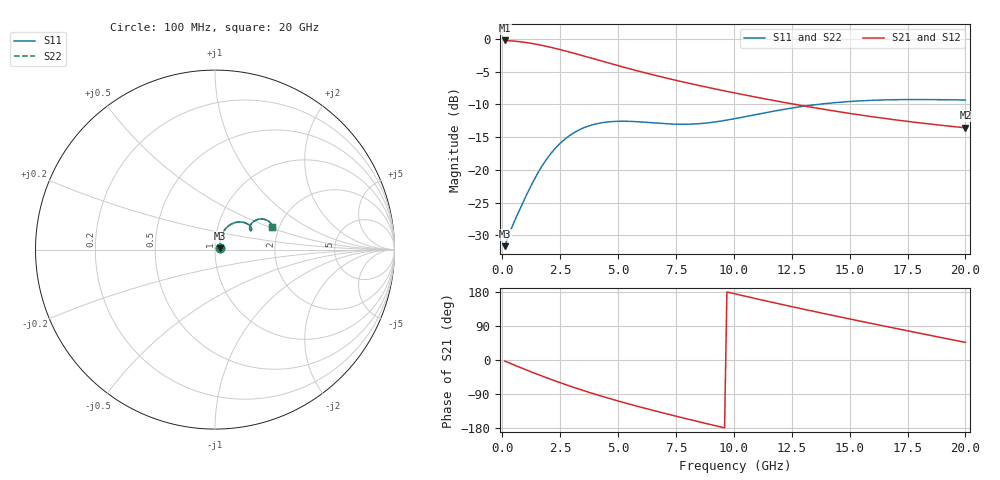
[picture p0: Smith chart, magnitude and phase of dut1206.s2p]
! Touchstone file exported from HFSS 2024.1.0
!  File:  C:/UserFiles/LocalFiles/RDL_TSV_Batchsim/temp_RDL_TSV_1206_1780258069.aedt
!  Generated:  04:25:18 AM Jun  1, 2026
!  Design:  RDL_TSV
!  Project:  temp_RDL_TSV_1206_1780258069
!  Setup:  Setup1
!  Solution:  Sweep
! Variables:
!  dtsv = 9.34um
!  hbump = 3um
!  htsv = 89.23um
!  ldown = 687.05um
!  lrdl = 652.46um
!  p = 40
!  p1 = 48.45um
!  rhole = 10um
!  subl = 4670.99um
!  t = 450um
!  tdown = 2.91um
!  trdl = 3.94um
!  viad = 10um
!  wdown = 18.71um
!  wrdl = 20.3um
!  xbump = 18um
# GHz S MA R 50.000000
! Terminal data exported
! Port[1] = TM1_1_T1
! Port[2] = TM1_4_T1
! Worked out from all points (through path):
!   200 points, 100 MHz to 20 GHz, reference 50 ohm
!   highest |S21| = -0.23 dB at 100 MHz (marker M1); lowest = -13.6 dB at 20 GHz (marker M2)
!   group delay of S21, straight-line fit = 41.5 ps
!   lowest |S11| = -31.6 dB at 100 MHz (marker M3), VSWR 1.05, Z = 52.6 + j0.663 ohm
!   |S11| at or under -10 dB: start of sweep to 13.61 GHz
!   |S22| runs from -31.6 to -9.3 dB; largest |S21 - S12| = 7.8e-15
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0.1  0.0262 13.9  0.9743 -2.6  0.9743 -2.6  0.0262 13.9
! Gamma 0 0 0 0
! Port Impedance 50 0 50 0
0.5  0.03966 42.9  0.9636 -12.9  0.9636 -12.9  0.03966 42.9
0.9  0.05678 56.9  0.9463 -22.9  0.9463 -22.9  0.05678 56.9
1.4  0.08585 64.3  0.9163 -35.0  0.9163 -35.0  0.0858 64.3
1.8  0.1129 64.5  0.8872 -44.4  0.8872 -44.4  0.1129 64.5
2.2  0.1404 61.9  0.855 -53.4  0.855 -53.4  0.1403 61.9
2.6  0.1659 57.9  0.8209 -62.1  0.8209 -62.1  0.1657 57.9
3  0.1879 53.3  0.7862 -70.5  0.7862 -70.5  0.1877 53.3
3.5  0.2092 47.5  0.7431 -80.6  0.7431 -80.6  0.209 47.5
4.3  0.2294 39.2  0.6776 -95.7  0.6776 -95.7  0.2292 39.2
5.1  0.2356 32.9  0.6187 -109.8  0.6187 -109.8  0.2354 33.0
5.9  0.2331 29.1  0.5671 -123.2  0.5671 -123.2  0.233 29.2
6.8  0.2269 27.8  0.5172 -137.5  0.5172 -137.5  0.2268 27.8
7.5  0.2237 28.6  0.4833 -148.2  0.4833 -148.2  0.2235 28.6
8.3  0.2246 30.7  0.4491 -160.2  0.4491 -160.2  0.2244 30.7
10.1  0.2474 35.4  0.3851 173.8  0.3851 173.8  0.2473 35.4
11.7  0.2807 35.8  0.3396 151.6  0.3396 151.6  0.2804 35.8
13.4  0.313 33.0  0.3002 128.9  0.3002 128.9  0.3124 33.1
15  0.3332 29.3  0.2703 108.3  0.2703 108.3  0.3325 29.4
16.7  0.3433 25.6  0.2449 87.0  0.2449 87.0  0.3423 25.7
18.4  0.3446 22.8  0.2249 66.0  0.2249 66.0  0.3434 22.9
20  0.342 21.3  0.2098 46.4  0.2098 46.4  0.3408 21.6
